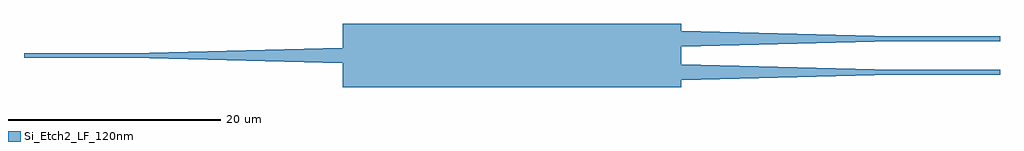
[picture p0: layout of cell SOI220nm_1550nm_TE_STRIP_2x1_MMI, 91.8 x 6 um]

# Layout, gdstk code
import gdstk
lib = gdstk.Library(unit=1e-6, precision=1e-09)
def R(c, l, rs):  # rectangles x0, y0, x1, y1
    for r in rs: c.add(gdstk.rectangle(r[:2], r[2:], *l))
def P(c, l, *ps):  # polygons
    for p in ps: c.add(gdstk.Polygon(p, *l))
Si_Etch2_LF_120nm = (3, 0)

soi220nm_1550nm_te_strip = lib.new_cell('SOI220nm_1550nm_TE_STRIP_2x1_MMI')
R(soi220nm_1550nm_te_strip, Si_Etch2_LF_120nm, [(30,-3,61.8,3), (81.8,-1.795,91.8,-1.345), (0,-0.225,10,0.225), (81.8,1.345,91.8,1.795)])
P(soi220nm_1550nm_te_strip, Si_Etch2_LF_120nm, [(30,-0.75),(10,-0.225),(10,0.225),(30,0.75)],
  [(61.8,-2.32),(61.8,-0.82),(81.8,-1.345),(81.8,-1.795)],
  [(61.8,0.82),(61.8,2.32),(81.8,1.795),(81.8,1.345)])

lib.write_gds('SOI220nm_1550nm_TE_STRIP_2x1_MMI.gds')
